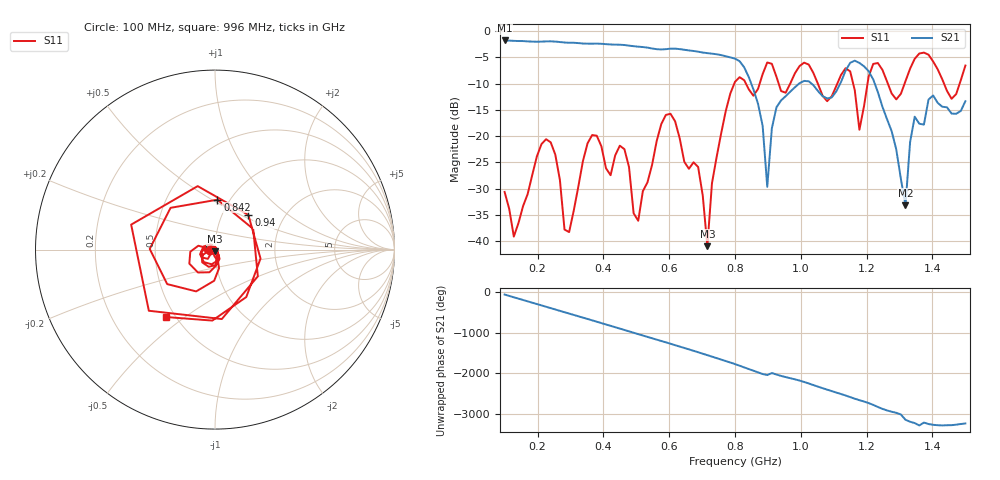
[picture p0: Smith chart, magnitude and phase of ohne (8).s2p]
! NanoVNA-App
! Date: 2025-09-25 14:20:52
! Start: 100MHz Stop: 1,5GHz Points: 101
! S-Parameter data: F S11 S21 S12 S22
# Hz S RI R 50
!  Frequency  S11_Real  S11_Imag  S21_Real  S21_Imag  S12_Real  S12_Imag  S22_Real  S22_Imag
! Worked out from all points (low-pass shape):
!   101 points, 100 MHz to 1.5 GHz, reference 50 ohm
!   highest |S21| = -1.79 dB at 100 MHz (marker M1); lowest = -33.2 dB at 1.318 GHz (marker M2)
!   |S21| within 3 dB of the highest: start of sweep to 771.4 MHz
!   lowest |S11| = -41.0 dB at 716 MHz (marker M3), VSWR 1.02, Z = 49.9 - j0.883 ohm
!   |S11| at or under -10 dB: start of sweep to 797.9 MHz; 833 MHz to 875.1 MHz (42.01 MHz wide, 4.92 % of centre); 1.052 GHz to 1.111 GHz (59.34 MHz wide, 5.49 % of centre) (the widest 3 of 7)
!   S12 and S22 are empty: the file has one direction only
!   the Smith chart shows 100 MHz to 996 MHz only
!   S11 on the Smith chart (normalised r, x): 100 MHz: 0.94, -0.01; 842 MHz: 0.88, +0.53; 940 MHz: 1.32, +0.55; 996 MHz: 0.45, -0.43
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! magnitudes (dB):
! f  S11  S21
! 100 MHz  -30.6  -1.8
! 128 MHz  -39.1  -1.9
! 226 MHz  -20.6  -2.0
! 296 MHz  -38.3  -2.2
! 338 MHz  -24.8  -2.4
! 464 MHz  -22.5  -2.7
! 506 MHz  -36.1  -3.0
! 576 MHz  -17.7  -3.5
! 688 MHz  -25.9  -3.9
! 716 MHz  -41.0  -4.2
! 800 MHz  -9.7  -5.2
! 842 MHz  -11.1  -8.8
! 898 MHz  -6.0  -29.7
! 940 MHz  -11.4  -13.2
! 996 MHz  -6.7  -9.9
! 1.038 GHz  -8.0  -10.3
! 1.178 GHz  -18.8  -6.1
! 1.22 GHz  -6.3  -9.2
! 1.276 GHz  -11.9  -19.1
! 1.318 GHz  -9.5  -33.2
! 1.346 GHz  -5.3  -16.3
! 1.5 GHz  -6.6  -13.4
